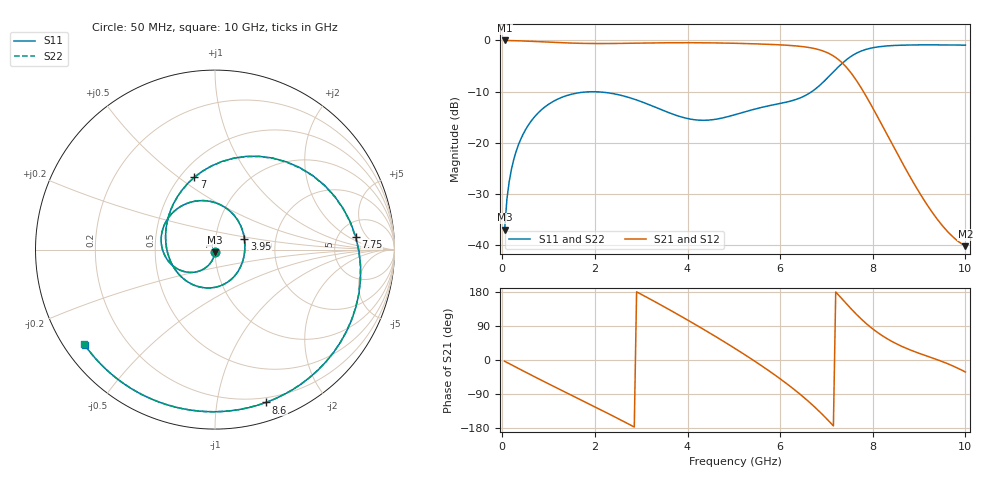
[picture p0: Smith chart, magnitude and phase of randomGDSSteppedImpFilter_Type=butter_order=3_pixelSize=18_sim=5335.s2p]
! freq	dB(S11)	phase(S11)	dB(S12)	phase(S12)
!  dB(S21)	phase(S21)	dB(S22)	phase(S22)
!S-par simulation data
#  GHz  S  DB  R 50
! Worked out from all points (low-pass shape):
!   200 points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, 50 MHz to 10 GHz, reference 50 ohm
!   highest |S21| = -0.01 dB at 50 MHz (marker M1); lowest = -40.3 dB at 10 GHz (marker M2)
!   |S21| within 3 dB of the highest: start of sweep to 7.143 GHz
!   lowest |S11| = -37.0 dB at 50 MHz (marker M3), VSWR 1.03, Z = 49.9 - j1.4 ohm
!   |S11| at or under -10 dB: start of sweep to 6.686 GHz
!   |S22| runs from -37.0 to -0.9 dB; largest |S21 - S12| = 0
!   S11 on the Smith chart (normalised r, x): 50 MHz: 1.00, -0.03; 3.95 GHz: 1.38, +0.17; 7 GHz: 0.59, +0.57; 7.75 GHz: 7.33, +2.78; 8.6 GHz: 0.16, -1.38; 10 GHz: 0.06, -0.33
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0.05  -37.03 -92.9  -0.01 -3.3  -0.01 -3.3  -37.03 -92.9
0.2  -25.11 -102.9  -0.03 -12.9  -0.03 -12.9  -25.11 -102.9
0.5  -17.50 -122.3  -0.12 -31.9  -0.12 -31.9  -17.50 -122.4
1.15  -11.69 -162.7  -0.40 -72.2  -0.40 -72.2  -11.69 -162.9
1.75  -10.13 161.0  -0.58 -108.5  -0.58 -108.5  -10.13 160.8
2.65  -10.95 105.8  -0.57 -164.1  -0.57 -164.1  -10.95 105.4
3.4  -13.43 57.2  -0.47 146.9  -0.47 146.9  -13.43 56.5
3.95  -15.18 19.7  -0.45 109.1  -0.45 109.1  -15.18 18.8
4.5  -15.56 -19.8  -0.48 69.7  -0.48 69.7  -15.56 -20.5
5.05  -14.47 -61.5  -0.56 28.5  -0.56 28.5  -14.47 -61.8
5.45  -13.45 -93.6  -0.67 -3.0  -0.67 -3.0  -13.44 -93.6
5.8  -12.71 -123.6  -0.78 -32.1  -0.78 -32.1  -12.70 -123.4
6.3  -11.68 -171.4  -1.04 -77.5  -1.04 -77.5  -11.68 -171.2
6.7  -9.92 143.8  -1.51 -118.9  -1.51 -118.9  -9.92 144.0
7  -7.54 105.8  -2.33 -154.5  -2.33 -154.5  -7.55 105.8
7.4  -4.01 50.9  -4.95 152.6  -4.95 152.6  -4.01 50.6
7.75  -2.08 5.3  -9.29 108.3  -9.29 108.3  -2.08 4.9
8  -1.43 -22.2  -13.22 82.0  -13.22 82.0  -1.43 -22.6
8.35  -1.05 -53.3  -19.13 53.3  -19.13 53.3  -1.05 -53.7
8.6  -0.94 -71.5  -23.34 37.5  -23.34 37.5  -0.94 -71.9
9.2  -0.87 -106.7  -32.53 9.1  -32.53 9.1  -0.87 -107.1
10  -0.92 -143.7  -40.27 -31.7  -40.27 -31.7  -0.92 -144.1
